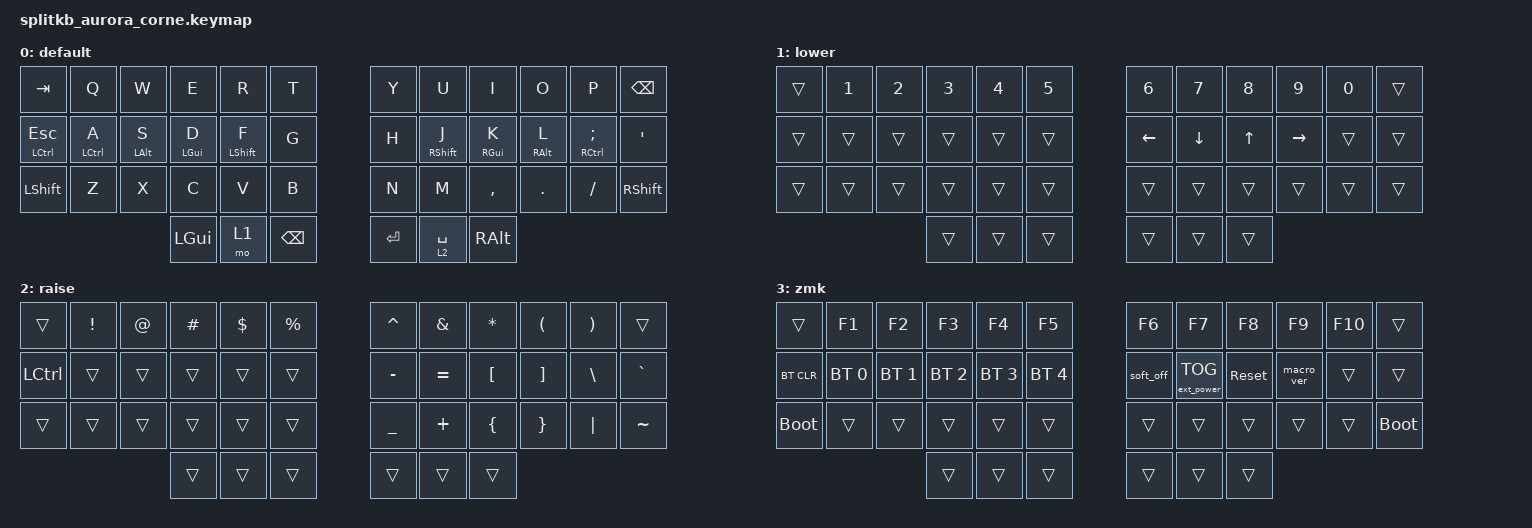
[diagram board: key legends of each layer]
/*
 * Copyright (c) 2020 The ZMK Contributors
 *
 * SPDX-License-Identifier: MIT
 */

#include "keypos_aurora_corne.h"
#include <behaviors.dtsi>
#include <dt-bindings/zmk/bt.h>
#include <dt-bindings/zmk/ext_power.h>
#include <dt-bindings/zmk/keys.h>

&lt { tapping-term-ms = <280>; };

/ {
    behaviors {
        #include "version.dtsi"

        hml: homerow_mods_left {
            compatible = "zmk,behavior-hold-tap";
            label = "HML";
            bindings = <&kp>, <&kp>;

            #binding-cells = <2>;
            tapping-term-ms = <280>;
            quick-tap-ms = <175>;
            require-prior-idle-ms = <150>;
            flavor = "balanced";
            hold-trigger-on-release;
            hold-trigger-key-positions = <KEYS_R THUMBS>;
        };

        hmr: homerow_mods_right {
            compatible = "zmk,behavior-hold-tap";
            label = "HMR";
            bindings = <&kp>, <&kp>;

            #binding-cells = <2>;
            tapping-term-ms = <280>;
            quick-tap-ms = <175>;
            require-prior-idle-ms = <150>;
            flavor = "balanced";
            hold-trigger-on-release;
            hold-trigger-key-positions = <KEYS_L THUMBS>;
        };
    };

    combos {
        compatible = "zmk,combos";

        zmk_layer {
            bindings = <&mo 3>;
            key-positions = <37 40>;
            layers = <0>;
        };
    };

    keymap {
        compatible = "zmk,keymap";

        default_layer {
            display-name = "default";

            // -----------------------------------------------------------------------------------------
            // |  TAB |  Q  |  W  |  E  |  R  |  T  |   |  Y  |  U   |  I  |  O  |  P  | BSPC |
            // | CTRL |  A  |  S  |  D  |  F  |  G  |   |  H  |  J   |  K  |  L  |  ;  |  '   |
            // | SHFT |  Z  |  X  |  C  |  V  |  B  |   |  N  |  M   |  ,  |  .  |  /  | ESC  |
            //                    | GUI | LWR | SPC |   | ENT | RSE  | ALT |

            bindings = <
&kp TAB        &kp Q         &kp W        &kp E        &kp R         &kp T            &kp Y    &kp U         &kp I        &kp O        &kp P            &kp BSPC
&mt LCTRL ESC  &hml LCTRL A  &hml LALT S  &hml LGUI D  &hml LSHFT F  &kp G            &kp H    &hmr RSHFT J  &hmr RGUI K  &hmr RALT L  &hmr RCTRL SEMI  &kp SQT
&kp LSHFT      &kp Z         &kp X        &kp C        &kp V         &kp B            &kp N    &kp M         &kp COMMA    &kp DOT      &kp FSLH         &kp RSHFT
                                          &kp LGUI     &mo 1         &kp BACKSPACE    &kp RET  &lt 2 SPACE   &kp RALT
            >;
        };

        lower_layer {
            display-name = "lower";

            // -----------------------------------------------------------------------------------------
            // |  TAB |  1  |  2  |  3  |  4  |  5  |   |  6  |  7  |  8  |  9  |  0  | BSPC |
            // | BTCLR| BT1 | BT2 | BT3 | BT4 | BT5 |   | LFT | DWN |  UP | RGT |     |      |
            // | SHFT |     |     |     |     |     |   |     |     |     |     |     |      |
            //                    | GUI |     | SPC |   | ENT |     | ALT |

            bindings = <
&trans  &kp N1  &kp N2  &kp N3  &kp N4  &kp N5    &kp N6    &kp N7    &kp N8  &kp N9     &kp N0  &trans
&trans  &trans  &trans  &trans  &trans  &trans    &kp LEFT  &kp DOWN  &kp UP  &kp RIGHT  &trans  &trans
&trans  &trans  &trans  &trans  &trans  &trans    &trans    &trans    &trans  &trans     &trans  &trans
                        &trans  &trans  &trans    &trans    &trans    &trans
            >;
        };

        raise_layer {
            display-name = "raise";

            // -----------------------------------------------------------------------------------------
            // |  TAB |  !  |  @  |  #  |  $  |  %  |   |  ^  |  &  |  *  |  (  |  )  | BSPC |
            // | CTRL |     |     |     |     |     |   |  -  |  =  |  [  |  ]  |  \  |  `   |
            // | SHFT |     |     |     |     |     |   |  _  |  +  |  {  |  }  | "|" |  ~   |
            //                    | GUI |     | SPC |   | ENT |     | ALT |

            bindings = <
&trans     &kp EXCL  &kp AT  &kp HASH  &kp DLLR  &kp PRCNT    &kp CARET  &kp AMPS   &kp ASTRK  &kp LPAR  &kp RPAR  &trans
&kp LCTRL  &trans    &trans  &trans    &trans    &trans       &kp MINUS  &kp EQUAL  &kp LBKT   &kp RBKT  &kp BSLH  &kp GRAVE
&trans     &trans    &trans  &trans    &trans    &trans       &kp UNDER  &kp PLUS   &kp LBRC   &kp RBRC  &kp PIPE  &kp TILDE
                             &trans    &trans    &trans       &trans     &trans     &trans
            >;
        };

        zmk_layer {
            display-name = "zmk";
            bindings = <
&trans       &kp F1        &kp F2        &kp F3        &kp F4        &kp F5          &kp F6     &kp F7             &kp F8      &kp F9      &kp F10  &trans
&bt BT_CLR   &bt BT_SEL 0  &bt BT_SEL 1  &bt BT_SEL 2  &bt BT_SEL 3  &bt BT_SEL 4    &soft_off  &ext_power EP_TOG  &sys_reset  &macro_ver  &trans   &trans
&bootloader  &trans        &trans        &trans        &trans        &trans          &trans     &trans             &trans      &trans      &trans   &bootloader
                                         &trans        &trans        &trans          &trans     &trans             &trans
            >;
        };
    };
};
